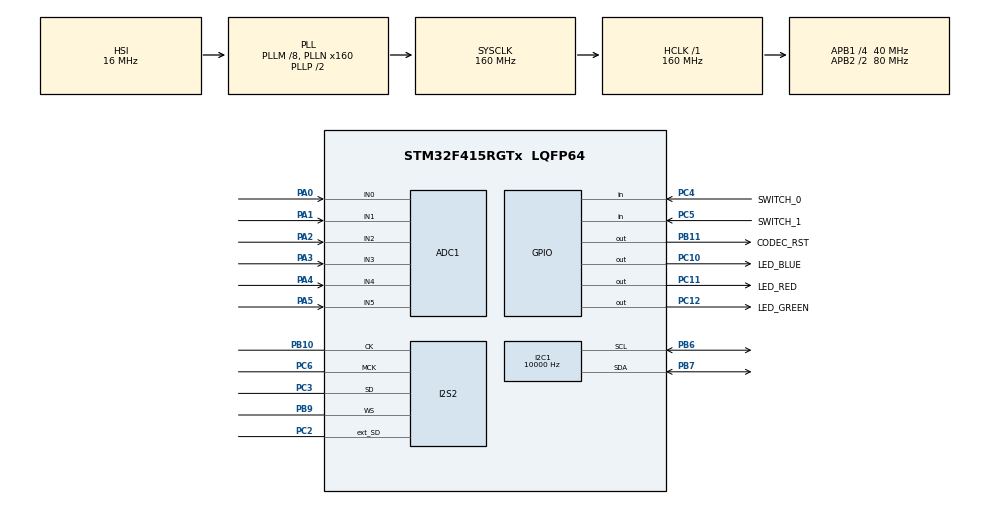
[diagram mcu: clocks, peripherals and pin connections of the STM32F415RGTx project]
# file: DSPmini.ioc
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ADC1.Channel-0\#ChannelRegularConversion=ADC_CHANNEL_0
ADC1.Channel-10\#ChannelRegularConversion=ADC_CHANNEL_5
ADC1.Channel-6\#ChannelRegularConversion=ADC_CHANNEL_1
ADC1.Channel-7\#ChannelRegularConversion=ADC_CHANNEL_2
ADC1.Channel-8\#ChannelRegularConversion=ADC_CHANNEL_3
ADC1.Channel-9\#ChannelRegularConversion=ADC_CHANNEL_4
ADC1.ClockPrescaler=ADC_CLOCK_SYNC_PCLK_DIV8
ADC1.ContinuousConvMode=DISABLE
ADC1.DMAContinuousRequests=ENABLE
ADC1.DiscontinuousConvMode=DISABLE
ADC1.EOCSelection=ADC_EOC_SEQ_CONV
ADC1.ExternalTrigConv=ADC_EXTERNALTRIGCONV_T2_TRGO
ADC1.InjNumberOfConversion=0
ADC1.NbrOfConversion=6
ADC1.NbrOfConversionFlag=1
ADC1.Rank-0\#ChannelRegularConversion=1
ADC1.Rank-10\#ChannelRegularConversion=6
ADC1.Rank-6\#ChannelRegularConversion=2
ADC1.Rank-7\#ChannelRegularConversion=3
ADC1.Rank-8\#ChannelRegularConversion=4
ADC1.Rank-9\#ChannelRegularConversion=5
ADC1.SamplingTime-0\#ChannelRegularConversion=ADC_SAMPLETIME_84CYCLES
ADC1.SamplingTime-10\#ChannelRegularConversion=ADC_SAMPLETIME_84CYCLES
ADC1.SamplingTime-6\#ChannelRegularConversion=ADC_SAMPLETIME_84CYCLES
ADC1.SamplingTime-7\#ChannelRegularConversion=ADC_SAMPLETIME_84CYCLES
ADC1.SamplingTime-8\#ChannelRegularConversion=ADC_SAMPLETIME_84CYCLES
ADC1.SamplingTime-9\#ChannelRegularConversion=ADC_SAMPLETIME_84CYCLES
ADC1.ScanConvMode=ENABLE
ADC1.master=1
Dma.ADC1.0.Direction=DMA_PERIPH_TO_MEMORY
Dma.ADC1.0.FIFOMode=DMA_FIFOMODE_DISABLE
Dma.ADC1.0.Instance=DMA2_Stream0
Dma.ADC1.0.MemDataAlignment=DMA_MDATAALIGN_HALFWORD
Dma.ADC1.0.MemInc=DMA_MINC_ENABLE
Dma.ADC1.0.Mode=DMA_CIRCULAR
Dma.ADC1.0.PeriphDataAlignment=DMA_PDATAALIGN_HALFWORD
Dma.ADC1.0.PeriphInc=DMA_PINC_DISABLE
Dma.ADC1.0.Priority=DMA_PRIORITY_MEDIUM
Dma.I2S2_EXT_RX.2.Direction=DMA_PERIPH_TO_MEMORY
Dma.I2S2_EXT_RX.2.FIFOMode=DMA_FIFOMODE_DISABLE
Dma.I2S2_EXT_RX.2.Instance=DMA1_Stream3
Dma.I2S2_EXT_RX.2.MemDataAlignment=DMA_MDATAALIGN_HALFWORD
Dma.I2S2_EXT_RX.2.MemInc=DMA_MINC_ENABLE
Dma.I2S2_EXT_RX.2.Mode=DMA_CIRCULAR
Dma.I2S2_EXT_RX.2.PeriphDataAlignment=DMA_PDATAALIGN_HALFWORD
Dma.I2S2_EXT_RX.2.PeriphInc=DMA_PINC_DISABLE
Dma.I2S2_EXT_RX.2.Priority=DMA_PRIORITY_VERY_HIGH
Dma.Request0=ADC1
Dma.Request1=SPI2_TX
Dma.Request2=I2S2_EXT_RX
Dma.SPI2_TX.1.Direction=DMA_MEMORY_TO_PERIPH
Dma.SPI2_TX.1.FIFOMode=DMA_FIFOMODE_DISABLE
Dma.SPI2_TX.1.Instance=DMA1_Stream4
Dma.SPI2_TX.1.MemDataAlignment=DMA_MDATAALIGN_HALFWORD
Dma.SPI2_TX.1.MemInc=DMA_MINC_ENABLE
Dma.SPI2_TX.1.Mode=DMA_CIRCULAR
Dma.SPI2_TX.1.PeriphDataAlignment=DMA_PDATAALIGN_HALFWORD
Dma.SPI2_TX.1.PeriphInc=DMA_PINC_DISABLE
Dma.SPI2_TX.1.Priority=DMA_PRIORITY_VERY_HIGH
I2C1.ClockSpeed=10000
I2S2.AudioFreq=I2S_AUDIOFREQ_16K
I2S2.DataFormat=I2S_DATAFORMAT_16B
I2S2.ErrorAudioFreq=1.72 %
I2S2.FullDuplexMode=I2S_FULLDUPLEXMODE_ENABLE
I2S2.Instance=SPI$Index
I2S2.RealAudioFreq=16.276 KHz
I2S2.VirtualMode=I2S_MODE_MASTER
Mcu.Family=STM32F4
Mcu.Name=STM32F415RGTx
Mcu.Package=LQFP64
NVIC.DMA1_Stream3_IRQn=true\:0\:0\:false\:false\:true\:false\:true\:true
NVIC.DMA1_Stream4_IRQn=true\:0\:0\:false\:false\:true\:false\:true\:true
NVIC.DMA2_Stream0_IRQn=true\:0\:0\:false\:false\:true\:false\:true\:true
NVIC.PriorityGroup=NVIC_PRIORITYGROUP_4
PA0-WKUP.Signal=ADCx_IN0
PA1.Signal=ADCx_IN1
PA13.Mode=Serial_Wire
PA13.Signal=SYS_JTMS-SWDIO
PA14.Mode=Serial_Wire
PA14.Signal=SYS_JTCK-SWCLK
PA2.Signal=ADCx_IN2
PA3.Signal=ADCx_IN3
PA4.Signal=ADCx_IN4
PA5.Signal=ADCx_IN5
PB10.Mode=Full_Duplex_Master
PB10.Signal=I2S2_CK
PB11.GPIO_Label=CODEC_RST
PB11.Signal=GPIO_Output
PB6.Mode=I2C
PB6.Signal=I2C1_SCL
PB7.Mode=I2C
PB7.Signal=I2C1_SDA
PB9.Mode=Full_Duplex_Master
PB9.Signal=I2S2_WS
PC10.GPIO_Label=LED_BLUE
PC10.Signal=GPIO_Output
PC11.GPIO_Label=LED_RED
PC11.Signal=GPIO_Output
PC12.GPIO_Label=LED_GREEN
PC12.Signal=GPIO_Output
PC2.Mode=Full_Duplex_Master
PC2.Signal=I2S2_ext_SD
PC3.Mode=Full_Duplex_Master
PC3.Signal=I2S2_SD
PC4.GPIO_Label=SWITCH_0
PC4.Signal=GPIO_Input
PC5.GPIO_Label=SWITCH_1
PC5.Signal=GPIO_Input
PC6.Mode=Master_Clock_Activated
PC6.Signal=I2S2_MCK
ProjectManager.HeapSize=0x200
ProjectManager.StackSize=0x400
ProjectManager.TargetToolchain=STM32CubeIDE
RCC.48MHZClocksFreq_Value=80000000
RCC.AHBFreq_Value=160000000
RCC.APB1CLKDivider=RCC_HCLK_DIV4
RCC.APB1Freq_Value=40000000
RCC.APB1TimFreq_Value=80000000
RCC.APB2CLKDivider=RCC_HCLK_DIV2
RCC.APB2Freq_Value=80000000
RCC.APB2TimFreq_Value=160000000
RCC.CortexFreq_Value=160000000
RCC.HCLKFreq_Value=160000000
RCC.HSE_VALUE=25000000
RCC.HSI_VALUE=16000000
RCC.LSE_VALUE=32768
RCC.PLLI2SN=50
RCC.PLLM=8
RCC.PLLN=160
RCC.SYSCLKFreq_VALUE=160000000
RCC.SYSCLKSource=RCC_SYSCLKSOURCE_PLLCLK
RCC.VCOOutputFreq_Value=320000000
SH.ADCx_IN0.0=ADC1_IN0,IN0
SH.ADCx_IN1.0=ADC1_IN1,IN1
SH.ADCx_IN2.0=ADC1_IN2,IN2
SH.ADCx_IN3.0=ADC1_IN3,IN3
SH.ADCx_IN4.0=ADC1_IN4,IN4
SH.ADCx_IN5.0=ADC1_IN5,IN5
TIM2.AutoReloadPreload=TIM_AUTORELOAD_PRELOAD_ENABLE
TIM2.Period=49999
TIM2.Prescaler=31
TIM2.TIM_MasterOutputTrigger=TIM_TRGO_UPDATE
TIM3.TIM_MasterOutputTrigger=TIM_TRGO_UPDATE
VP_TIM2_VS_ClockSourceINT.Mode=Internal
VP_TIM3_VS_ClockSourceINT.Mode=Internal
board=custom

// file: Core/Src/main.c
/* USER CODE BEGIN Header */
/**
  ******************************************************************************
  * @file           : main.c
  * @brief          : Main program body
  ******************************************************************************
  * @attention
  *
  * Copyright (c) 2024 STMicroelectronics.
  * All rights reserved.
  *
  * This software is licensed under terms that can be found in the LICENSE file
  * in the root directory of this software component.
  * If no LICENSE file comes with this software, it is provided AS-IS.
  *
  ******************************************************************************
  */
/* USER CODE END Header */
#include "main.h"

/* USER CODE BEGIN Includes */
#include "codec.h"
#include "IIR_PeakingFilter.h"
#include "fir_filter.h"
#include "iir_filter.h"
#include "distortion.h"
#include "delay_line.h"
#include "reverb.h"
/* USER CODE END Includes */

ADC_HandleTypeDef hadc1;
DMA_HandleTypeDef hdma_adc1;

I2C_HandleTypeDef hi2c1;

I2S_HandleTypeDef hi2s2;
DMA_HandleTypeDef hdma_spi2_tx;
DMA_HandleTypeDef hdma_i2s2_ext_rx;

TIM_HandleTypeDef htim2;
TIM_HandleTypeDef htim3;

/* USER CODE BEGIN PV */

uint16_t adcData[NUM_ADC_CHANNELS];	//buffer for the ADC data from the ADC used to read the potentiometers

static int16_t codecInData[AUDIO_BUFFER_SIZE];	//buffers to deal with the in/out of the codec
static int16_t codecOutData[AUDIO_BUFFER_SIZE];

volatile uint8_t audioDataReadyFlag = 0;
volatile uint8_t audio_update_lockout_flag = 0;

static volatile int16_t *codecInBuff_p;	//pointers to help handle the double buffering (read half and process the other half at the same time) of the CODEC data
static volatile int16_t *codecOutBuff_p;
//structure to hold all the ADC values from the pots
struct potentiometers
{
	uint16_t pot1;
	uint16_t pot2;
	uint16_t pot3;
	uint16_t pot4;
	uint16_t pot5;
	uint16_t pot6;
}pots;

IIR_peakingFilter bass_filter;
IIR_peakingFilter mid_filter;
IIR_peakingFilter high_filter;
fir_filter_t anti_aliasing_filter;
iir_filter_t treble_cut_filter;
iir_filter_t bass_cut_filter;
distortion_t overdrive;

delayline_t delay1;
delayline_t delay2;
delayline_t delay3;
delayline_t delay4;

reverb_delayline_t reverb_one;
reverb_delayline_t reverb_two;
reverb_delayline_t reverb_three;
reverb_delayline_t reverb_four;

reverb_delayline_t reverb_five;
reverb_delayline_t reverb_six;
reverb_delayline_t reverb_seven;
reverb_delayline_t reverb_eight;

#define RVERB_ONE_MS 	20
#define RVERB_TWO_MS 	35
#define RVERB_THREE_MS 	60
#define RVERB_FOUR_MS 	75
#define RVERB_FIVE_MS 	10
#define RVERB_SIX_MS 	2
#define RVERB_SEVEN_MS 	63
#define RVERB_EIGHT_MS 	55

float verb_array_one[3255];
float verb_array_two[3255];
float verb_array_three[3255];
float verb_array_four[3255];
float verb_array_five[3255];
float verb_array_six[3255];
float verb_array_seven[3255];
float verb_array_eight[3255];
/* USER CODE END PV */

void SystemClock_Config(void);
static void MX_GPIO_Init(void);
static void MX_DMA_Init(void);
static void MX_ADC1_Init(void);
static void MX_I2C1_Init(void);
static void MX_I2S2_Init(void);
static void MX_TIM2_Init(void);
static void MX_TIM3_Init(void);
/* USER CODE BEGIN PFP */
void update_filter_settings(uint16_t q_pot, uint16_t boostCut_pot, IIR_peakingFilter *filt, float centre_freq);
float clamp(float in, float min, float max);
/* USER CODE END PFP */

/* USER CODE BEGIN 0 */

//this function is called every time an ADC conversion is complete
void HAL_ADC_ConvCpltCallback(ADC_HandleTypeDef *hadc)
{
	//HAL_GPIO_TogglePin(LED_GREEN_GPIO_Port, LED_GREEN_Pin);

	//unload the array into our structure for easier handling
	pots.pot1 = adcData[0];
	pots.pot2 = adcData[1];
	pots.pot3 = adcData[4];
	pots.pot4 = adcData[5];
	pots.pot5 = adcData[2];
	pots.pot6 = adcData[3];

	//
	if(!audio_update_lockout_flag)
	{
	//	iir_highpass_set_params(&bass_cut_filter, (((float)pots.pot1 / 6.82f) + 50));	//50hz to 600Hz
	//	iir_lowpass_set_params(&treble_cut_filter, (((4096 - (float)pots.pot2) / 2.048f) + 3000));	//3k to 5k
	//	overdrive.gain = (((float)pots.pot3 / 200) + 0.1f);
	//	overdrive.asym_Q = (((float)pots.pot4 / 2048) + 0.1f) * -1.0f;
	//	overdrive.asym_d = (((float)pots.pot5 / 409.0) + 0.1);

	//	DelayLine_SetLength(&delay, ((float)pots.pot1 / 8) + 10.0f, SAMPLE_RATE_HZ);	//sets between 0 and 512ms

	//	delay.delay_time_pot_value = ((float)pots.pot1 / 8);
		delay1.mix = (float)pots.pot2 / 4096;
		delay1.feedback = ((float)pots.pot3 / 4500); //(never let it go full feedback)

	}
}

void update_filter_settings(uint16_t q_pot, uint16_t boostCut_pot, IIR_peakingFilter *filt, float centre_freq)
{
	//convert pot values to something in range for our filters
	//max ADC = 4096
	//205 (approx) for a 20 bit scaling
	float boostCut;

	//Q = q_pot / 205;
	boostCut = (float)boostCut_pot / 2048.0;

	if(!audio_update_lockout_flag)
	{
		IIR_peakingFilter_setParams(filt, centre_freq, (float)q_pot, boostCut);
	}

}

//function is called when I2S data is half complete, so align the pointers to the first half of the buffers
void HAL_I2SEx_TxRxHalfCpltCallback(I2S_HandleTypeDef *hi2s)
{
	codecInBuff_p = &codecInData[0];
	codecOutBuff_p = &codecOutData[0];

	audioDataReadyFlag = 1;
}

//function is called when I2S data is complete, so align the pointers to the second half of the buffers
void HAL_I2SEx_TxRxCpltCallback(I2S_HandleTypeDef *hi2s)
{
	codecInBuff_p = &codecInData[AUDIO_BUFFER_SIZE/2];
	codecOutBuff_p = &codecOutData[AUDIO_BUFFER_SIZE/2];

	audioDataReadyFlag = 1;
}

void processData(void)
{
	float leftIn, processed_data, current_delay_data[4];
	float audio_channels[4], shuffled_channels[4];
	static float leftOut;

	audio_update_lockout_flag = 1;

	for(uint8_t n = 0; n < (AUDIO_BUFFER_SIZE/2) - 1; n += 2)
	{

		// Check if number is negative (sign bit)
		if (codecInBuff_p[n] & 0x8000) {
			codecInBuff_p[n] |= ~0xFFFF;
		}

		//left channel data, normalise to float -1.0 to +1.0
		leftIn = (float)codecInBuff_p[n] / (float)0x7FFF;

		//modify the data here
		//high pass IIR
	//	outTemp_1 = iir_filter_update(&bass_cut_filter, leftIn);
		//anti alias (low pass)
//		processed_data = process_fir_filter(&anti_aliasing_filter, leftIn);
		//distortion
/*		if(HAL_GPIO_ReadPin(SWITCH_1_GPIO_Port, SWITCH_1_Pin))
		{
			HAL_GPIO_WritePin(GPIOC, GPIO_PIN_10, 0);	//Blue
			HAL_GPIO_WritePin(GPIOC, GPIO_PIN_11, 1); //RED
			outTemp_3 = distortion(&overdrive, outTemp_2);
		}
		else
		{
			HAL_GPIO_WritePin(GPIOC, GPIO_PIN_10, 1);	//Blue
			HAL_GPIO_WritePin(GPIOC, GPIO_PIN_11, 0);		//RED
			//outTemp_3 = asym_distortion(&overdrive, outTemp_2);
			outTemp_3 = DELAY_ALPHA * outTemp_2 + DELAY_BETA * DelayLine_Update(&delay, (outTemp_2 + (0.8 * static_temp)));

		}
*/
		//input into 4 reverb delays
		audio_channels[0] = reverb_delayline_update(&reverb_one, leftIn);
		audio_channels[1] = reverb_delayline_update(&reverb_two, leftIn);
		audio_channels[2] = reverb_delayline_update(&reverb_three, leftIn);
		audio_channels[3] = reverb_delayline_update(&reverb_four, leftIn);

		//output of reverb delays into shuffle
		reverb_shuffle_inverter(audio_channels, shuffled_channels);

		//output of shuffle into hadamard
		reverb_hadamard_matrix(shuffled_channels, audio_channels);

		//REPEAT
/*
		//input into 4 reverb delays
		audio_channels[0] = reverb_delayline_update(&reverb_five, audio_channels[0]);
		audio_channels[1] = reverb_delayline_update(&reverb_six, audio_channels[1]);
		audio_channels[2] = reverb_delayline_update(&reverb_seven, audio_channels[2]);
		audio_channels[3] = reverb_delayline_update(&reverb_eight, audio_channels[3]);

		//output of reverb delays into shuffle
		reverb_shuffle_inverter(audio_channels, shuffled_channels);

		//output of shuffle into hadamard
		reverb_hadamard_matrix(shuffled_channels, audio_channels);
*/
		//get the current delay sample
		current_delay_data[0] = *(delay1.memory_bank_one + delay1.index);
		current_delay_data[1] = *(delay2.memory_bank_one + delay2.index);
		current_delay_data[2] = *(delay3.memory_bank_one + delay3.index);
		current_delay_data[3] = *(delay4.memory_bank_one + delay4.index);

		//put it through a householder matrix to scramble it
		reverb_householder_matrix(audio_channels, shuffled_channels);

		//mix it with input (acts as our feedback line)
		//leftOut = processed_data + (delay.feedback * current_delay_data);
		audio_channels[0] = shuffled_channels[0] + (delay1.feedback * current_delay_data[0]);
		audio_channels[1] = shuffled_channels[1] + (delay1.feedback * current_delay_data[1]);
		audio_channels[2] = shuffled_channels[2] + (delay1.feedback * current_delay_data[2]);
		audio_channels[3] = shuffled_channels[3] + (delay1.feedback * current_delay_data[3]);

		//update the delay line and output data
	//	leftOut = processed_data + (delay.mix * DelayLine_Update(&delay, leftOut));
		audio_channels[0] = audio_channels[0] + (delay1.mix * DelayLine_Update(&delay1, audio_channels[0]));
		audio_channels[1] = audio_channels[1] + (delay1.mix * DelayLine_Update(&delay2, audio_channels[1]));
		audio_channels[2] = audio_channels[2] + (delay1.mix * DelayLine_Update(&delay3, audio_channels[2]));
		audio_channels[3] = audio_channels[3] + (delay1.mix * DelayLine_Update(&delay4, audio_channels[3]));

		//mix into 1 channel

		//mix with input
		processed_data = (audio_channels[0] + audio_channels[1] + audio_channels[2] + audio_channels[3]) / 4;

		//add in the current sample to the output
		//leftOut = (leftOut + leftIn) / 2;

		leftOut = processed_data;//debug
		//leftOut = processed_data + delay.mix * DelayLine_Update(&delay, (processed_data + (delay.feedback * leftOut)));
		//low pass IIR
	//	leftOut = iir_filter_update(&treble_cut_filter, outTemp_3);
	//	static_temp = leftOut; //save
		//volume
		leftOut = leftOut * ((float)pots.pot6 / 4096);

		// Ensure output samples are within [-1.0,+1.0] range
		if (leftOut < -1.0f) {
			leftOut = -1.0f;
		} else if (leftOut > 1.0f) {
			leftOut =  1.0f;
		}

		//convert back to signed int and transfer to DAC (via pointer)
		codecOutBuff_p[n] =  (int16_t)(leftOut * 0x7FFF);

	}

	audio_update_lockout_flag = 0;
	audioDataReadyFlag = 0;
	return;
}

/* USER CODE END 0 */

int main(void)
{

  /* MCU Configuration--------------------------------------------------------*/

  /* Reset of all peripherals, Initializes the Flash interface and the Systick. */
  HAL_Init();

  /* Configure the system clock */
  SystemClock_Config();

  /* Initialize all configured peripherals */
  MX_GPIO_Init();
  MX_DMA_Init();
  MX_ADC1_Init();
  MX_I2C1_Init();
  MX_I2S2_Init();
  MX_TIM2_Init();
  MX_TIM3_Init();
  /* USER CODE BEGIN 2 */

 // codec_hardware_reset_pin_set();	//hold CODEC in reset
 // HAL_Delay(1500);	//wait for horrible noises of power up to go away
  HAL_ADC_Start_DMA(&hadc1, (uint32_t *) adcData, NUM_ADC_CHANNELS); 	//start the ADC and link it with the DMA
  HAL_TIM_Base_Start(&htim2); 											//start timer 2 which triggers the ADC
  HAL_I2SEx_TransmitReceive_DMA(&hi2s2, (uint16_t *) codecOutData, (uint16_t *) codecInData, AUDIO_BUFFER_SIZE);
  codec_hardware_reset_pin_clear();
  HAL_Delay(50);
  codec_configure(&hi2c1);

  init_fir_filter(&anti_aliasing_filter);
  reverb_delayLine_init(&reverb_one, RVERB_ONE_MS, SAMPLE_RATE_HZ, verb_array_one);
  reverb_delayLine_init(&reverb_two, RVERB_TWO_MS, SAMPLE_RATE_HZ, verb_array_two);
  reverb_delayLine_init(&reverb_three, RVERB_THREE_MS, SAMPLE_RATE_HZ, verb_array_three);
  reverb_delayLine_init(&reverb_four, RVERB_FOUR_MS, SAMPLE_RATE_HZ, verb_array_four);

  reverb_delayLine_init(&reverb_five, RVERB_FIVE_MS, SAMPLE_RATE_HZ, verb_array_five);
  reverb_delayLine_init(&reverb_six, RVERB_SIX_MS, SAMPLE_RATE_HZ, verb_array_six);
  reverb_delayLine_init(&reverb_seven, RVERB_SEVEN_MS, SAMPLE_RATE_HZ, verb_array_seven);
  reverb_delayLine_init(&reverb_eight, RVERB_EIGHT_MS, SAMPLE_RATE_HZ, verb_array_eight);

  DelayLine_Init(&delay1, DELAY_TIME_MS, SAMPLE_RATE_HZ);
  DelayLine_Init(&delay2, DELAY_TIME_MS, SAMPLE_RATE_HZ);
  DelayLine_Init(&delay3, DELAY_TIME_MS, SAMPLE_RATE_HZ);
  DelayLine_Init(&delay4, DELAY_TIME_MS, SAMPLE_RATE_HZ);

/*  for(uint8_t x = 0; x <= BIG_NUMBER; x++)
  {
	  memory_in_ccm_ram[x] = 0;
  }
*/
  /* USER CODE END 2 */

  /* Infinite loop */
  /* USER CODE BEGIN WHILE */
  while (1)
  {
	  if(!HAL_GPIO_ReadPin(SWITCH_0_GPIO_Port, SWITCH_0_Pin))
	  {
		  HAL_GPIO_WritePin(GPIOC, GPIO_PIN_10, 1);	//Blue
		  HAL_GPIO_WritePin(GPIOC, GPIO_PIN_11, 1);		//RED

		  if(audioDataReadyFlag)
		  {
			  processData();
		  }
	  }

	  else
	  {
		  HAL_GPIO_WritePin(GPIOC, GPIO_PIN_10, 0);	//Blue
		  HAL_GPIO_WritePin(GPIOC, GPIO_PIN_11, 0);	//Red
		  HAL_GPIO_WritePin(LED_GREEN_GPIO_Port, LED_GREEN_Pin, 0);
	  }

    /* USER CODE END WHILE */

  }
}

void SystemClock_Config(void)
{
  RCC_OscInitTypeDef RCC_OscInitStruct = {0};
  RCC_ClkInitTypeDef RCC_ClkInitStruct = {0};

  /** Configure the main internal regulator output voltage
  */
  __HAL_RCC_PWR_CLK_ENABLE();
  __HAL_PWR_VOLTAGESCALING_CONFIG(PWR_REGULATOR_VOLTAGE_SCALE1);

  /** Initializes the RCC Oscillators according to the specified parameters
  * in the RCC_OscInitTypeDef structure.
  */
  RCC_OscInitStruct.OscillatorType = RCC_OSCILLATORTYPE_HSI;
  RCC_OscInitStruct.HSIState = RCC_HSI_ON;
  RCC_OscInitStruct.HSICalibrationValue = RCC_HSICALIBRATION_DEFAULT;
  RCC_OscInitStruct.PLL.PLLState = RCC_PLL_ON;
  RCC_OscInitStruct.PLL.PLLSource = RCC_PLLSOURCE_HSI;
  RCC_OscInitStruct.PLL.PLLM = 8;
  RCC_OscInitStruct.PLL.PLLN = 160;
  RCC_OscInitStruct.PLL.PLLP = RCC_PLLP_DIV2;
  RCC_OscInitStruct.PLL.PLLQ = 4;
  if (HAL_RCC_OscConfig(&RCC_OscInitStruct) != HAL_OK)
  {
    Error_Handler();
  }

  /** Initializes the CPU, AHB and APB buses clocks
  */
  RCC_ClkInitStruct.ClockType = RCC_CLOCKTYPE_HCLK|RCC_CLOCKTYPE_SYSCLK
                              |RCC_CLOCKTYPE_PCLK1|RCC_CLOCKTYPE_PCLK2;
  RCC_ClkInitStruct.SYSCLKSource = RCC_SYSCLKSOURCE_PLLCLK;
  RCC_ClkInitStruct.AHBCLKDivider = RCC_SYSCLK_DIV1;
  RCC_ClkInitStruct.APB1CLKDivider = RCC_HCLK_DIV4;
  RCC_ClkInitStruct.APB2CLKDivider = RCC_HCLK_DIV2;

  if (HAL_RCC_ClockConfig(&RCC_ClkInitStruct, FLASH_LATENCY_5) != HAL_OK)
  {
    Error_Handler();
  }
}

static void MX_ADC1_Init(void)
{

  ADC_ChannelConfTypeDef sConfig = {0};

  /** Configure the global features of the ADC (Clock, Resolution, Data Alignment and number of conversion)
  */
  hadc1.Instance = ADC1;
  hadc1.Init.ClockPrescaler = ADC_CLOCK_SYNC_PCLK_DIV8;
  hadc1.Init.Resolution = ADC_RESOLUTION_12B;
  hadc1.Init.ScanConvMode = ENABLE;
  hadc1.Init.ContinuousConvMode = DISABLE;
  hadc1.Init.DiscontinuousConvMode = DISABLE;
  hadc1.Init.ExternalTrigConvEdge = ADC_EXTERNALTRIGCONVEDGE_RISING;
  hadc1.Init.ExternalTrigConv = ADC_EXTERNALTRIGCONV_T2_TRGO;
  hadc1.Init.DataAlign = ADC_DATAALIGN_RIGHT;
  hadc1.Init.NbrOfConversion = 6;
  hadc1.Init.DMAContinuousRequests = ENABLE;
  hadc1.Init.EOCSelection = ADC_EOC_SEQ_CONV;
  if (HAL_ADC_Init(&hadc1) != HAL_OK)
  {
    Error_Handler();
  }

  /** Configure for the selected ADC regular channel its corresponding rank in the sequencer and its sample time.
  */
  sConfig.Channel = ADC_CHANNEL_0;
  sConfig.Rank = 1;
  sConfig.SamplingTime = ADC_SAMPLETIME_84CYCLES;
  if (HAL_ADC_ConfigChannel(&hadc1, &sConfig) != HAL_OK)
  {
    Error_Handler();
  }

  /** Configure for the selected ADC regular channel its corresponding rank in the sequencer and its sample time.
  */
  sConfig.Channel = ADC_CHANNEL_1;
  sConfig.Rank = 2;
  if (HAL_ADC_ConfigChannel(&hadc1, &sConfig) != HAL_OK)
  {
    Error_Handler();
  }

  /** Configure for the selected ADC regular channel its corresponding rank in the sequencer and its sample time.
  */
  sConfig.Channel = ADC_CHANNEL_2;
  sConfig.Rank = 3;
  if (HAL_ADC_ConfigChannel(&hadc1, &sConfig) != HAL_OK)
  {
    Error_Handler();
  }

  /** Configure for the selected ADC regular channel its corresponding rank in the sequencer and its sample time.
  */
  sConfig.Channel = ADC_CHANNEL_3;
  sConfig.Rank = 4;
  if (HAL_ADC_ConfigChannel(&hadc1, &sConfig) != HAL_OK)
  {
    Error_Handler();
  }

  /** Configure for the selected ADC regular channel its corresponding rank in the sequencer and its sample time.
  */
  sConfig.Channel = ADC_CHANNEL_4;
  sConfig.Rank = 5;
  if (HAL_ADC_ConfigChannel(&hadc1, &sConfig) != HAL_OK)
  {
    Error_Handler();
  }

  /** Configure for the selected ADC regular channel its corresponding rank in the sequencer and its sample time.
  */
  sConfig.Channel = ADC_CHANNEL_5;
  sConfig.Rank = 6;
  if (HAL_ADC_ConfigChannel(&hadc1, &sConfig) != HAL_OK)
  {
    Error_Handler();
  }

}

static void MX_I2C1_Init(void)
{

  hi2c1.Instance = I2C1;
  hi2c1.Init.ClockSpeed = 10000;
  hi2c1.Init.DutyCycle = I2C_DUTYCYCLE_2;
  hi2c1.Init.OwnAddress1 = 0;
  hi2c1.Init.AddressingMode = I2C_ADDRESSINGMODE_7BIT;
  hi2c1.Init.DualAddressMode = I2C_DUALADDRESS_DISABLE;
  hi2c1.Init.OwnAddress2 = 0;
  hi2c1.Init.GeneralCallMode = I2C_GENERALCALL_DISABLE;
  hi2c1.Init.NoStretchMode = I2C_NOSTRETCH_DISABLE;
  if (HAL_I2C_Init(&hi2c1) != HAL_OK)
  {
    Error_Handler();
  }

}

static void MX_I2S2_Init(void)
{

  hi2s2.Instance = SPI2;
  hi2s2.Init.Mode = I2S_MODE_MASTER_TX;
  hi2s2.Init.Standard = I2S_STANDARD_PHILIPS;
  hi2s2.Init.DataFormat = I2S_DATAFORMAT_16B;
  hi2s2.Init.MCLKOutput = I2S_MCLKOUTPUT_ENABLE;
  hi2s2.Init.AudioFreq = I2S_AUDIOFREQ_32K;
  hi2s2.Init.CPOL = I2S_CPOL_LOW;
  hi2s2.Init.ClockSource = I2S_CLOCK_PLL;
  hi2s2.Init.FullDuplexMode = I2S_FULLDUPLEXMODE_ENABLE;
  if (HAL_I2S_Init(&hi2s2) != HAL_OK)
  {
    Error_Handler();
  }

}

static void MX_TIM2_Init(void)
{

  TIM_ClockConfigTypeDef sClockSourceConfig = {0};
  TIM_MasterConfigTypeDef sMasterConfig = {0};

  htim2.Instance = TIM2;
  htim2.Init.Prescaler = 31;
  htim2.Init.CounterMode = TIM_COUNTERMODE_UP;
  htim2.Init.Period = 49999;
  htim2.Init.ClockDivision = TIM_CLOCKDIVISION_DIV1;
  htim2.Init.AutoReloadPreload = TIM_AUTORELOAD_PRELOAD_ENABLE;
  if (HAL_TIM_Base_Init(&htim2) != HAL_OK)
  {
    Error_Handler();
  }
  sClockSourceConfig.ClockSource = TIM_CLOCKSOURCE_INTERNAL;
  if (HAL_TIM_ConfigClockSource(&htim2, &sClockSourceConfig) != HAL_OK)
  {
    Error_Handler();
  }
  sMasterConfig.MasterOutputTrigger = TIM_TRGO_UPDATE;
  sMasterConfig.MasterSlaveMode = TIM_MASTERSLAVEMODE_DISABLE;
  if (HAL_TIMEx_MasterConfigSynchronization(&htim2, &sMasterConfig) != HAL_OK)
  {
    Error_Handler();
  }

}

static void MX_TIM3_Init(void)
{

  TIM_ClockConfigTypeDef sClockSourceConfig = {0};
  TIM_MasterConfigTypeDef sMasterConfig = {0};

  htim3.Instance = TIM3;
  htim3.Init.Prescaler = 0;
  htim3.Init.CounterMode = TIM_COUNTERMODE_UP;
  htim3.Init.Period = 65535;
  htim3.Init.ClockDivision = TIM_CLOCKDIVISION_DIV1;
  htim3.Init.AutoReloadPreload = TIM_AUTORELOAD_PRELOAD_DISABLE;
  if (HAL_TIM_Base_Init(&htim3) != HAL_OK)
  {
    Error_Handler();
  }
  sClockSourceConfig.ClockSource = TIM_CLOCKSOURCE_INTERNAL;
  if (HAL_TIM_ConfigClockSource(&htim3, &sClockSourceConfig) != HAL_OK)
  {
    Error_Handler();
  }
  sMasterConfig.MasterOutputTrigger = TIM_TRGO_UPDATE;
  sMasterConfig.MasterSlaveMode = TIM_MASTERSLAVEMODE_DISABLE;
  if (HAL_TIMEx_MasterConfigSynchronization(&htim3, &sMasterConfig) != HAL_OK)
  {
    Error_Handler();
  }

}

static void MX_DMA_Init(void)
{

  /* DMA controller clock enable */
  __HAL_RCC_DMA2_CLK_ENABLE();
  __HAL_RCC_DMA1_CLK_ENABLE();

  /* DMA interrupt init */
  /* DMA1_Stream3_IRQn interrupt configuration */
  HAL_NVIC_SetPriority(DMA1_Stream3_IRQn, 0, 0);
  HAL_NVIC_EnableIRQ(DMA1_Stream3_IRQn);
  /* DMA1_Stream4_IRQn interrupt configuration */
  HAL_NVIC_SetPriority(DMA1_Stream4_IRQn, 0, 0);
  HAL_NVIC_EnableIRQ(DMA1_Stream4_IRQn);
  /* DMA2_Stream0_IRQn interrupt configuration */
  HAL_NVIC_SetPriority(DMA2_Stream0_IRQn, 0, 0);
  HAL_NVIC_EnableIRQ(DMA2_Stream0_IRQn);

}

static void MX_GPIO_Init(void)
{
  GPIO_InitTypeDef GPIO_InitStruct = {0};

  /* GPIO Ports Clock Enable */
  __HAL_RCC_GPIOC_CLK_ENABLE();
  __HAL_RCC_GPIOA_CLK_ENABLE();
  __HAL_RCC_GPIOB_CLK_ENABLE();

  /*Configure GPIO pin Output Level */
  HAL_GPIO_WritePin(CODEC_RST_GPIO_Port, CODEC_RST_Pin, GPIO_PIN_RESET);

  /*Configure GPIO pin Output Level */
  HAL_GPIO_WritePin(GPIOC, LED_BLUE_Pin|LED_RED_Pin|LED_GREEN_Pin, GPIO_PIN_RESET);

  /*Configure GPIO pins : SWITCH_0_Pin SWITCH_1_Pin */
  GPIO_InitStruct.Pin = SWITCH_0_Pin|SWITCH_1_Pin;
  GPIO_InitStruct.Mode = GPIO_MODE_INPUT;
  GPIO_InitStruct.Pull = GPIO_NOPULL;
  HAL_GPIO_Init(GPIOC, &GPIO_InitStruct);

  /*Configure GPIO pin : CODEC_RST_Pin */
  GPIO_InitStruct.Pin = CODEC_RST_Pin;
  GPIO_InitStruct.Mode = GPIO_MODE_OUTPUT_PP;
  GPIO_InitStruct.Pull = GPIO_NOPULL;
  GPIO_InitStruct.Speed = GPIO_SPEED_FREQ_LOW;
  HAL_GPIO_Init(CODEC_RST_GPIO_Port, &GPIO_InitStruct);

  /*Configure GPIO pins : LED_BLUE_Pin LED_RED_Pin LED_GREEN_Pin */
  GPIO_InitStruct.Pin = LED_BLUE_Pin|LED_RED_Pin|LED_GREEN_Pin;
  GPIO_InitStruct.Mode = GPIO_MODE_OUTPUT_PP;
  GPIO_InitStruct.Pull = GPIO_NOPULL;
  GPIO_InitStruct.Speed = GPIO_SPEED_FREQ_LOW;
  HAL_GPIO_Init(GPIOC, &GPIO_InitStruct);

}

void Error_Handler(void)
{
  __disable_irq();
  while (1)
  {
  }
}
